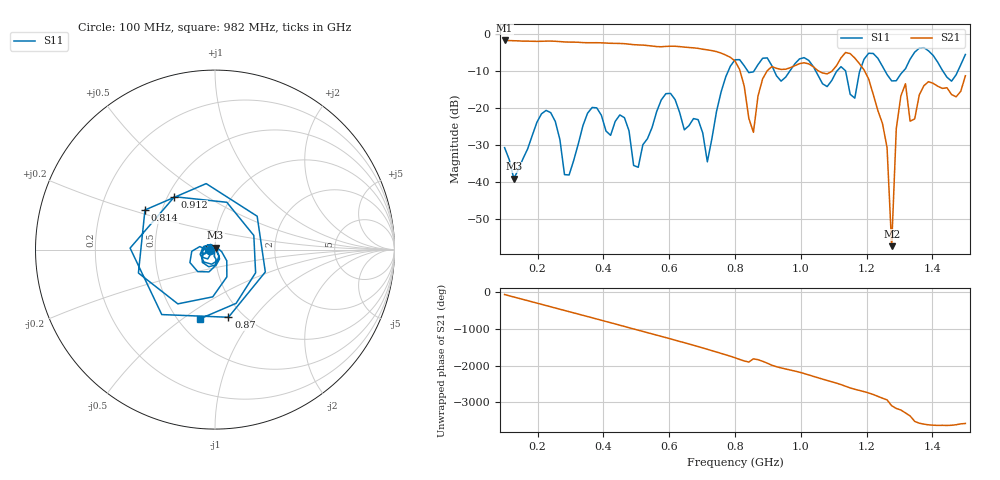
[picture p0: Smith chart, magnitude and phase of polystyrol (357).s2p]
! NanoVNA-App
! Date: 2025-09-25 15:32:40
! Start: 100MHz Stop: 1,5GHz Points: 101
! S-Parameter data: F S11 S21 S12 S22
# Hz S RI R 50
!  Frequency  S11_Real  S11_Imag  S21_Real  S21_Imag  S12_Real  S12_Imag  S22_Real  S22_Imag
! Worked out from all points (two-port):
!   101 points, 100 MHz to 1.5 GHz, reference 50 ohm
!   highest |S21| = -1.80 dB at 100 MHz (marker M1); lowest = -57.3 dB at 1.276 GHz (marker M2)
!   |S21| within 3 dB of the highest: start of sweep to 743.4 MHz
!   lowest |S11| = -39.1 dB at 128 MHz (marker M3), VSWR 1.02, Z = 50.3 + j1.07 ohm
!   |S11| at or under -10 dB: start of sweep to 779.7 MHz; 1.045 GHz to 1.11 GHz (65.19 MHz wide, 6.05 % of centre); 1.256 GHz to 1.312 GHz (56.27 MHz wide, 4.38 % of centre) (the widest 3 of 7)
!   S12 and S22 are empty: the file has one direction only
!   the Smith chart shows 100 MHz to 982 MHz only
!   S11 on the Smith chart (normalised r, x): 100 MHz: 0.94, -0.01; 814 MHz: 0.40, +0.22; 870 MHz: 0.85, -0.76; 912 MHz: 0.54, +0.37; 982 MHz: 0.64, -0.58
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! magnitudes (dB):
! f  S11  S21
! 100 MHz  -30.7  -1.8
! 128 MHz  -39.1  -1.9
! 212 MHz  -21.6  -2.0
! 282 MHz  -38.0  -2.2
! 338 MHz  -24.8  -2.4
! 506 MHz  -36.0  -3.0
! 576 MHz  -17.8  -3.5
! 716 MHz  -34.5  -4.3
! 800 MHz  -7.0  -7.3
! 814 MHz  -7.0  -9.6
! 856 MHz  -10.3  -26.6
! 870 MHz  -8.3  -16.7
! 912 MHz  -8.6  -8.8
! 982 MHz  -8.1  -8.6
! 1.038 GHz  -8.8  -8.9
! 1.164 GHz  -17.4  -6.5
! 1.206 GHz  -5.2  -12.2
! 1.262 GHz  -11.0  -30.7
! 1.276 GHz  -12.7  -57.3
! 1.29 GHz  -12.7  -25.6
! 1.318 GHz  -9.4  -13.5
! 1.5 GHz  -5.6  -11.3
